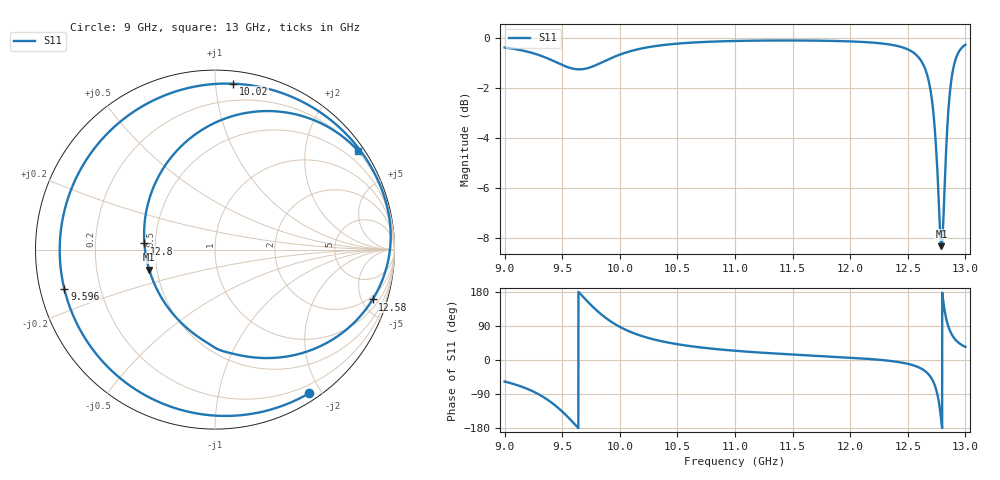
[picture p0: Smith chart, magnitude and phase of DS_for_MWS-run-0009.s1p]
! TOUCHSTONE file generated by CST DESIGN STUDIO
! Date and time: Tue Feb  4 16:12:26 2025
! Project name: C:\Work\MatlabApps\UnitCellOptimizationMatlab\CST\unitcell.cst
! Tree item: Tasks\Sweep1\SPara1\S-Parameters
! Header version: 2024
! Port assignment regex: !\s*Touchstone port\s*([0-9]+)\s*=\s*(CST MWS port|CST DES external port|CST DES block port)\s*(.+)\s* \(\"(.*)\"\)(\s*mode\s*([0-9]+))?.*
! Touchstone port assignment:
! Touchstone port 1 = CST DES external port 1 ("")
# GHz S MA R 50
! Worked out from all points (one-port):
!   4001 points, 9 GHz to 13 GHz, reference 50 ohm
!   lowest |S11| = -8.3 dB at 12.79 GHz (marker M1), VSWR 2.24, Z = 22.7 - j5.94 ohm
!   |S11| at or under -10 dB: nowhere
!   S11 on the Smith chart (normalised r, x): 9 GHz: 0.10, -1.84; 9.596 GHz: 0.07, -0.13; 10.02 GHz: 0.08, +1.11; 12.58 GHz: 1.65, -6.04; 12.8 GHz: 0.43, +0.04; 13 GHz: 0.18, +3.20
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9  0.9569 -56.8
9.165  0.9425 -72.3
9.316  0.9209 -94.0
9.413  0.9016 -113.6
9.5  0.8829 -136.0
9.596  0.8677 -165.3
9.692  0.867 163.2
9.804  0.8845 129.5
9.894  0.9043 107.5
10  0.9258 87.4
10.023  0.9299 83.8
10.232  0.9567 59.5
10.5  0.974 41.7
11  0.9859 24.4
11.5  0.9882 14.5
12  0.984 6.1
12.5  0.9485 -10.0
12.581  0.9211 -17.5
12.674  0.8336 -35.8
12.706  0.7621 -48.5
12.735  0.6544 -67.3
12.764  0.4971 -100.4
12.792  0.3834 -163.1
12.8  0.3949 175.0
12.833  0.5979 109.7
12.864  0.7722 78.7
12.922  0.9156 50.8
13  0.969 34.6
